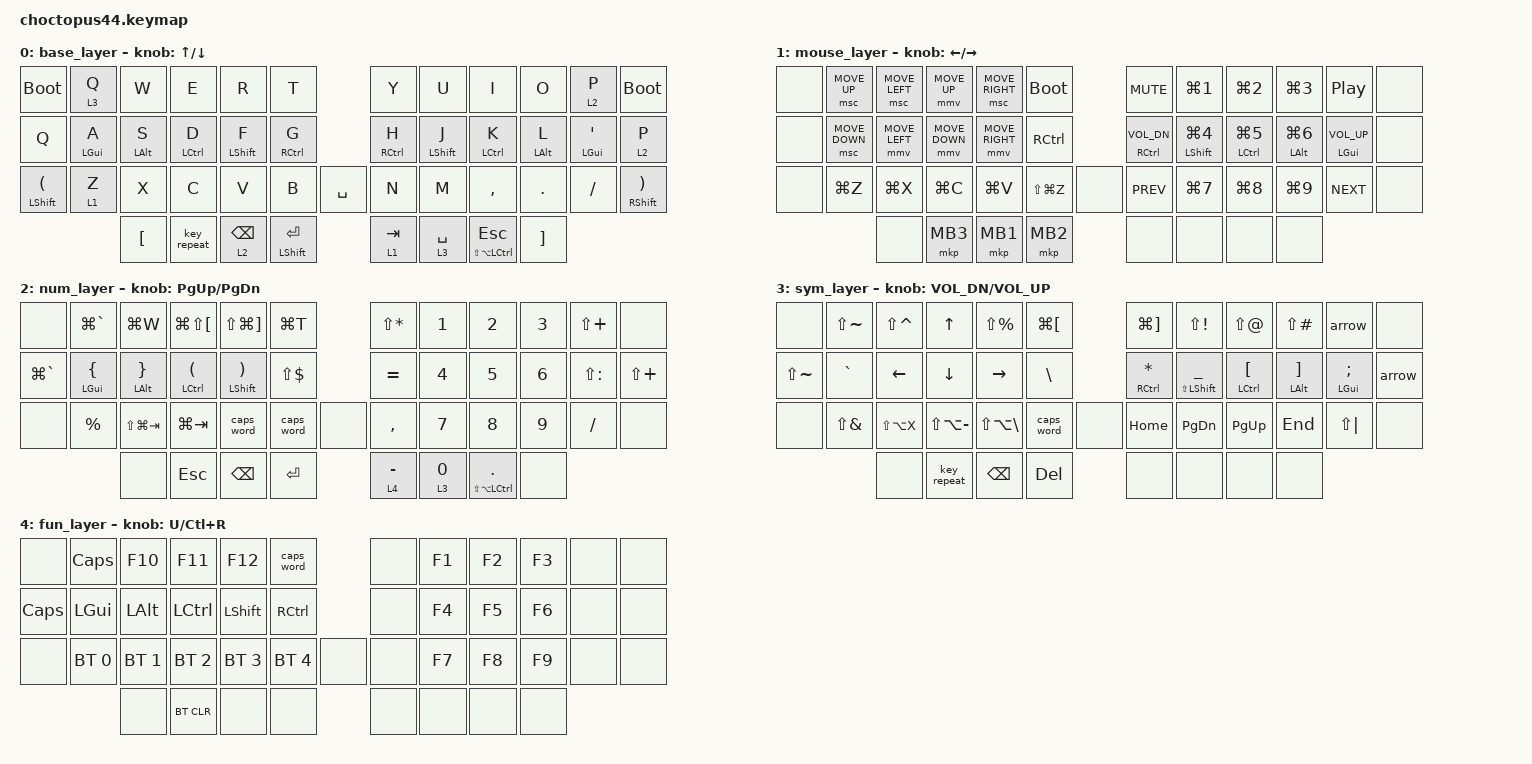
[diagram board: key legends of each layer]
/*
 * Copyright (c) 2021 The ZMK Contributors
 *
 * SPDX-License-Identifier: MIT
 */

#include <behaviors.dtsi>
#include <dt-bindings/zmk/bt.h>
#include <dt-bindings/zmk/keys.h>
#include <dt-bindings/zmk/mouse.h>

/ {
    combos {
        compatible = "zmk,combos";

        thumbcombos_base_left_right {
            bindings = <&caps_word>;
            key-positions = <39 40>;
            layers = <0>;
        };

        thumbcombos_base_right_left {
            bindings = <&lt 4 UNDER>;
            key-positions = <41 42>;
            layers = <0>;
        };

        thumbcombos_base_right_right {
            bindings = <&kp LS(LA(LC(LGUI)))>;
            key-positions = <42 43>;
        };

        qa {
            bindings = <&kp LEFT>;
            key-positions = <12 13>;
        };

        aq {
            bindings = <&kp LBRC>;
            key-positions = <1 13>;
        };

        sw {
            bindings = <&kp RBRC>;
            key-positions = <2 14>;
        };

        de {
            bindings = <&kp LPAR>;
            key-positions = <3 15>;
        };

        fr {
            bindings = <&kp RPAR>;
            key-positions = <4 16>;
        };

        gt {
            bindings = <&kp DLLR>;
            key-positions = <5 17>;
        };

        hy {
            bindings = <&kp EQUAL>;
            key-positions = <6 18>;
        };

        ju {
            bindings = <&kp UP>;
            key-positions = <7 19>;
        };

        ki {
            bindings = <&kp LBKT>;
            key-positions = <8 20>;
        };

        lo {
            bindings = <&kp RBKT>;
            key-positions = <9 21>;
        };

        quotp {
            bindings = <&kp COLON>;
            key-positions = <10 22>;
        };

        pquot {
            bindings = <&kp RIGHT>;
            key-positions = <22 23>;
        };

        fg {
            bindings = <&kp PG_UP>;
            key-positions = <16 17>;
        };

        hj {
            bindings = <&kp PG_DN>;
            key-positions = <18 19>;
        };

        az {
            bindings = <&kp GRAVE>;
            key-positions = <13 25>;
        };

        sx {
            bindings = <&kp TILDE>;
            key-positions = <14 26>;
        };

        dc {
            bindings = <&kp CARET>;
            key-positions = <15 27>;
        };

        fv {
            bindings = <&kp STAR>;
            key-positions = <16 28>;
        };

        gb {
            bindings = <&kp BSLH>;
            key-positions = <17 29>;
        };

        hn {
            bindings = <&kp MINUS>;
            key-positions = <18 31>;
        };

        jm {
            bindings = <&kp DOWN>;
            key-positions = <19 32>;
        };

        kcomm {
            bindings = <&kp PLUS>;
            key-positions = <20 33>;
        };

        ldot {
            bindings = <&kp PIPE>;
            key-positions = <21 34>;
        };

        quotslsh {
            bindings = <&kp SEMI>;
            key-positions = <22 35>;
        };

        bbspc {
            bindings = <&kp LS(LG(TAB))>;
            key-positions = <29 39>;
        };

        nspc {
            bindings = <&kp LG(TAB)>;
            key-positions = <31 42>;
        };
    };

    macros {
        arrow: arrow {
            compatible = "zmk,behavior-macro";
            #binding-cells = <0>;
            bindings = <&kp EQUAL &kp GT>;
            label = "ARROW";
        };
    };

    behaviors {
        hml: hml {
            compatible = "zmk,behavior-hold-tap";
            label = "HML";
            bindings = <&kp>, <&kp>;

            #binding-cells = <2>;
            tapping-term-ms = <280>;
            quick-tap-ms = <175>;
            require-prior-idle-ms = <150>;
            flavor = "balanced";
            hold-trigger-on-release;
            hold-trigger-key-positions = <6 7 8 9 10 6 7 8 9 10 11 18 19 20 21 22 23 31 32 33 34 35 36 41 42 43 44>;
        };

        hmr: hmr {
            compatible = "zmk,behavior-hold-tap";
            label = "HMR";
            bindings = <&kp>, <&kp>;

            #binding-cells = <2>;
            tapping-term-ms = <280>;
            quick-tap-ms = <175>;
            require-prior-idle-ms = <150>;
            flavor = "balanced";
            hold-trigger-on-release;
            hold-trigger-key-positions = <0 1 2 3 4 5 12 13 14 15 16 17 24 25 26 27 28 29 37 38 39 40>;
        };
    };

    keymap {
        compatible = "zmk,keymap";

        base_layer {
            bindings = <
&bootloader     &lt 3 Q      &kp W        &kp E         &kp R         &kp T                       &kp Y         &kp U         &kp I                  &kp O        &lt 2 P        &bootloader
&kp Q           &hml LGUI A  &hml LALT S  &hml LCTRL D  &hml LSHFT F  &hml RCTRL G                &hmr RCTRL H  &hmr LSHFT J  &hmr LCTRL K           &hmr LALT L  &hmr LGUI SQT  &lt 2 P
&mt LSHFT LPAR  &lt 1 Z      &kp X        &kp C         &kp V         &kp B            &kp SPACE  &kp N         &kp M         &kp COMMA              &kp DOT      &kp FSLH       &mt RSHFT RPAR
                             &kp LBKT     &key_repeat   &lt 2 BSPC    &mt LSHFT ENTER             &lt 1 TAB     &lt 3 SPACE   &mt LS(LA(LCTRL)) ESC  &kp RBKT
            >;

            sensor-bindings = <&inc_dec_kp UP DOWN>;
        };

        mouse_layer {
            bindings = <
&none  &msc MOVE_UP    &msc MOVE_LEFT  &mmv MOVE_UP    &msc MOVE_RIGHT  &bootloader           &kp C_MUTE          &kp LG(N1)         &kp LG(N2)        &kp LG(N3)       &kp C_PP           &none
&none  &msc MOVE_DOWN  &mmv MOVE_LEFT  &mmv MOVE_DOWN  &mmv MOVE_RIGHT  &kp RCTRL             &mt RCTRL C_VOL_DN  &mt LSHIFT LG(N4)  &mt LCTRL LG(N5)  &mt LALT LG(N6)  &mt LGUI C_VOL_UP  &none
&none  &kp LG(Z)       &kp LG(X)       &kp LG(C)       &kp LG(V)        &kp LS(LG(Z))  &none  &kp C_PREV          &kp LG(N7)         &kp LG(N8)        &kp LG(N9)       &kp C_NEXT         &none
                       &none           &mkp MB3        &mkp MB1         &mkp MB2              &none               &none              &none             &none
            >;

            sensor-bindings = <&inc_dec_kp LEFT RIGHT>;
        };

        num_layer {
            bindings = <
&none          &kp LG(GRAVE)  &kp LG(W)        &kp LG(LS(LBKT))  &kp LS(LG(RBKT))  &kp LG(T)            &kp LS(STAR)  &kp N1    &kp N2                 &kp N3  &kp LS(PLUS)   &none
&kp LG(GRAVE)  &mt LGUI LBRC  &mt LALT RBRC    &mt LCTRL LPAR    &mt LSHIFT RPAR   &kp LS(DLLR)         &kp EQUAL     &kp N4    &kp N5                 &kp N6  &kp LS(COLON)  &kp LS(PLUS)
&none          &kp PRCNT      &kp LS(LG(TAB))  &kp LG(TAB)       &caps_word        &caps_word    &none  &kp COMMA     &kp N7    &kp N8                 &kp N9  &kp FSLH       &none
                              &none            &kp ESC           &kp BSPC          &kp RET              &lt 4 MINUS   &lt 3 N0  &mt LS(LA(LCTRL)) DOT  &none
            >;

            sensor-bindings = <&inc_dec_kp PG_UP PG_DN>;
        };

        sym_layer {
            bindings = <
&none          &kp LS(TILDE)  &kp LS(CARET)  &kp UP             &kp LS(PRCNT)     &kp LG(LBKT)         &kp LG(RBKT)    &kp LS(EXCL)          &kp LS(AT)      &kp LS(POUND)  &arrow         &none
&kp LS(TILDE)  &kp GRAVE      &kp LEFT       &kp DOWN           &kp RIGHT         &kp BSLH             &mt RCTRL STAR  &mt LS(LSHIFT) UNDER  &mt LCTRL LBKT  &mt LALT RBKT  &mt LGUI SEMI  &arrow
&none          &kp LS(AMPS)   &kp LS(LA(X))  &kp LS(LA(MINUS))  &kp LS(LA(BSLH))  &caps_word    &none  &kp HOME        &kp PG_DN             &kp PG_UP       &kp END        &kp LS(PIPE)   &none
                              &none          &key_repeat        &kp BSPC          &kp DEL              &none           &none                 &none           &none
            >;

            sensor-bindings = <&inc_dec_kp C_VOL_DN C_VOL_UP>;
        };

        fun_layer {
            bindings = <
&none     &kp CAPS      &kp F10       &kp F11       &kp F12       &caps_word           &none  &kp F1  &kp F2  &kp F3  &none  &none
&kp CAPS  &kp LGUI      &kp LALT      &kp LCTRL     &kp LSHFT     &kp RCTRL            &none  &kp F4  &kp F5  &kp F6  &none  &none
&none     &bt BT_SEL 0  &bt BT_SEL 1  &bt BT_SEL 2  &bt BT_SEL 3  &bt BT_SEL 4  &none  &none  &kp F7  &kp F8  &kp F9  &none  &none
                        &none         &bt BT_CLR    &none         &none                &none  &none   &none   &none
            >;

            sensor-bindings = <&inc_dec_kp U LC(R)>;
        };
    };
};
